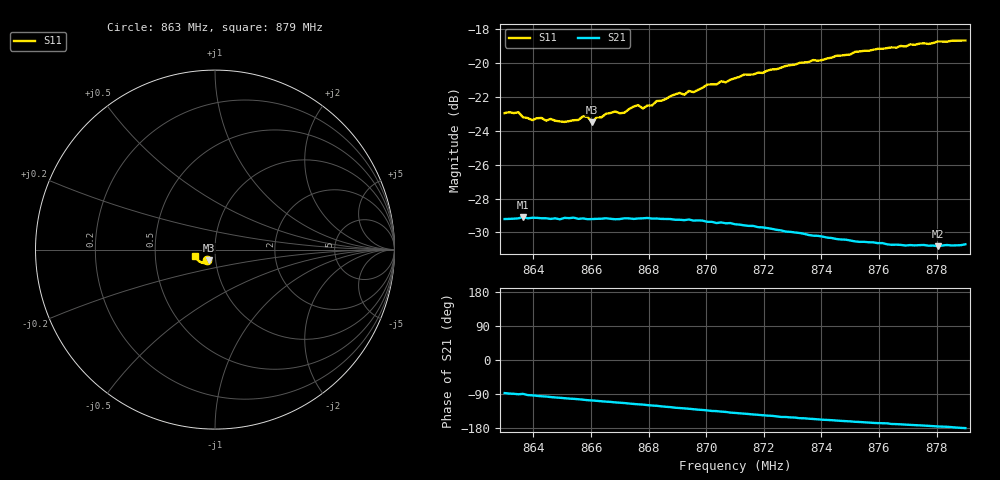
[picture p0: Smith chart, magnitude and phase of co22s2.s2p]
# HZ S RI R 50
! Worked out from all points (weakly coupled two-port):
!   101 points, 863 MHz to 879 MHz, reference 50 ohm
!   highest |S21| = -29.09 dB at 863.64 MHz (marker M1); lowest = -30.8 dB at 878.04 MHz (marker M2)
!   lowest |S11| = -23.5 dB at 866.04 MHz (marker M3), VSWR 1.14, Z = 46.4 - j5.36 ohm
!   |S11| at or under -10 dB: start of sweep to end of sweep
!   S12 and S22 are empty: the file has one direction only
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8.63e8  -0.0441 -0.0559  0.00163 -0.0346  0 0  0 0
8.6348e8  -0.043 -0.0572  -0.000253 -0.0348  0 0  0 0
8.6364e8  -0.0396 -0.0568  0.000395 -0.0351  0 0  0 0
8.6508e8  -0.0366 -0.0561  -0.00654 -0.0343  0 0  0 0
8.6556e8  -0.036 -0.0576  -0.0081 -0.0337  0 0  0 0
8.6572e8  -0.0354 -0.06  -0.0088 -0.0336  0 0  0 0
8.6588e8  -0.0359 -0.0595  -0.00957 -0.0332  0 0  0 0
8.6604e8  -0.0341 -0.0574  -0.00998 -0.0331  0 0  0 0
8.662e8  -0.0364 -0.0589  -0.0106 -0.033  0 0  0 0
8.6652e8  -0.0351 -0.0616  -0.0118 -0.0327  0 0  0 0
8.6716e8  -0.0349 -0.0622  -0.0139 -0.0319  0 0  0 0
8.6764e8  -0.0367 -0.0655  -0.0158 -0.031  0 0  0 0
8.678e8  -0.0359 -0.0641  -0.0162 -0.0308  0 0  0 0
8.6844e8  -0.0383 -0.0673  -0.0185 -0.0293  0 0  0 0
8.6908e8  -0.0411 -0.0706  -0.0206 -0.0276  0 0  0 0
8.6924e8  -0.0402 -0.0699  -0.021 -0.0272  0 0  0 0
8.7004e8  -0.0452 -0.0737  -0.0232 -0.0248  0 0  0 0
8.71e8  -0.0509 -0.0745  -0.0255 -0.0216  0 0  0 0
8.7372e8  -0.0703 -0.0741  -0.0282 -0.0127  0 0  0 0
8.7644e8  -0.0934 -0.0604  -0.0285 -0.00562  0 0  0 0
8.7804e8  -0.1059 -0.0471  -0.0287 -0.00226  0 0  0 0
8.79e8  -0.1108 -0.0367  -0.0292 -0.000137  0 0  0 0
